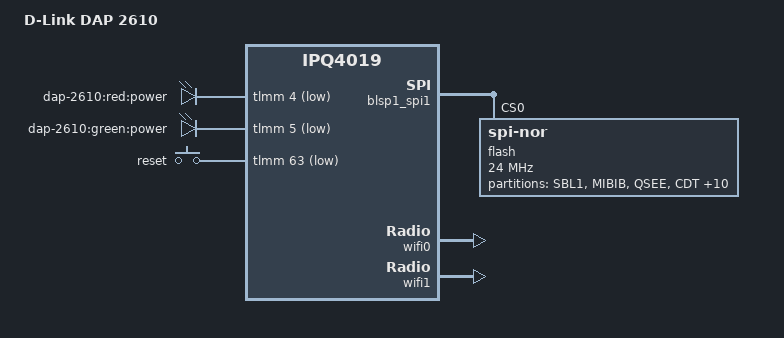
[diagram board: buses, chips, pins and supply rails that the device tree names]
// SPDX-License-Identifier: GPL-2.0-or-later OR MIT

#include "qcom-ipq4019-ap.dk01.1.dtsi"
#include <dt-bindings/gpio/gpio.h>
#include <dt-bindings/input/input.h>

/ {
	model = "D-Link DAP 2610";
	compatible = "dlink,dap-2610";

	soc {
		edma@c080000 {
			qcom,num_gmac = <1>;
		};
	};

	aliases {
		led-boot = &power;
		led-failsafe = &power;
		led-running = &power;
		led-upgrade = &power;
	};

	leds {
		compatible = "gpio-leds";

		red {
			label = "dap-2610:red:power";
			gpios = <&tlmm 4 GPIO_ACTIVE_LOW>;
		};

		power: green {
			label = "dap-2610:green:power";
			gpios = <&tlmm 5 GPIO_ACTIVE_LOW>;
		};
	};

	keys {
		compatible = "gpio-keys";

		reset {
			label = "reset";
			gpios = <&tlmm 63 GPIO_ACTIVE_LOW>;
			linux,code = <KEY_RESTART>;
		};
	};
};

&gmac0 {
	vlan_tag = <2 0x20>;
};

&blsp1_spi1 {
	flash@0 {
		compatible = "jedec,spi-nor";
		#address-cells = <1>;
		#size-cells = <1>;
		reg = <0>;
		spi-max-frequency = <24000000>;

		partitions {
			compatible = "fixed-partitions";

			SBL1@0 {
				label = "SBL1";
				reg = <0x0 0x40000>;
				read-only;
			};
			MIBIB@40000 {
				label = "MIBIB";
				reg = <0x40000 0x20000>;
				read-only;
			};
			QSEE@60000 {
				label = "QSEE";
				reg = <0x60000 0x60000>;
				read-only;
			};
			CDT@c0000 {
				label = "CDT";
				reg = <0xc0000 0x10000>;
				read-only;
			};
			DDRPARAMS@d0000 {
				label = "DDRPARAMS";
				reg = <0xd0000 0x10000>;
				read-only;
			};
			APPSBLENV@e0000 {
				label = "APPSBLENV";
				reg = <0xe0000 0x10000>;
				read-only;
			};
			APPSBL@f0000 {
				label = "APPSBL";
				reg = <0xf0000 0x80000>;
				read-only;
			};
			ART@170000 {
				label = "ART";
				reg = <0x170000 0x10000>;
				read-only;
			};
			firmware@180000 {
				compatible = "wrg";
				label = "firmware";
				reg = <0x180000 0xdc0000>;
			};
			rgdb@fb0000 {
				label = "rgbd";
				reg = <0xfb0000 0x10000>;
				read-only;
			};
			bdcfg@fc0000 {
				label = "bdcfg";
				reg = <0xfc0000 0x10000>;
				read-only;
			};
			langpack@fd0000 {
				label = "langpack";
				reg = <0xfd0000 0x20000>;
				read-only;
			};
			certificate@ff0000 {
				label = "certificate";
				reg = <0xff0000 0x10000>;
				read-only;
			};
			captival@f40000 {
				label = "captival";
				reg = <0xf40000 0x70000>;
				read-only;
			};
		};
	};
};

&wifi0 {
	qcom,ath10k-calibration-variant = "dlink,dap-2610";
};

&wifi1 {
	qcom,ath10k-calibration-variant = "dlink,dap-2610";
};
